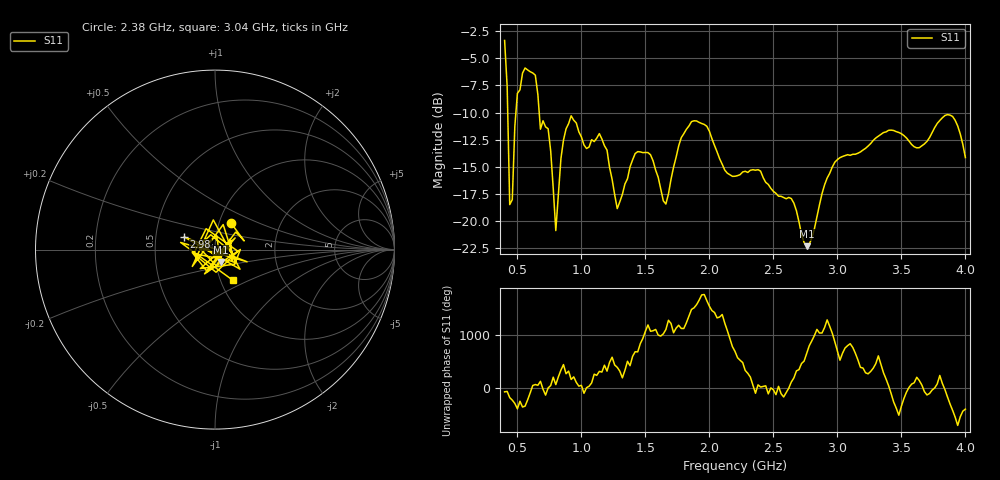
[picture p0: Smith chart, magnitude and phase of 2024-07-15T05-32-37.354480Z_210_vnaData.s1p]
!Created with skrf (http://scikit-rf.org).
# Hz S RI R 50.0
!freq ReS11 ImS11
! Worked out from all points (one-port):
!   181 points, 400 MHz to 4 GHz, reference 50 ohm
!   lowest |S11| = -22.4 dB at 2.76 GHz (marker M1), VSWR 1.17, Z = 52.7 - j7.38 ohm
!   |S11| at or under -10 dB: 424.4 MHz to 488.3 MHz (63.89 MHz wide, 14 % of centre); 670.3 MHz to end of sweep
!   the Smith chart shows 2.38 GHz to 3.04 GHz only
!   S11 on the Smith chart (normalised r, x): 2.38 GHz: 1.14, +0.35; 2.98 GHz: 0.70, +0.10; 3.04 GHz: 1.14, -0.41
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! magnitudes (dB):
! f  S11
! 400 MHz  -3.3
! 420 MHz  -7.6
! 440 MHz  -18.5
! 460 MHz  -18.1
! 500 MHz  -8.2
! 560 MHz  -5.9
! 680 MHz  -11.5
! 740 MHz  -11.5
! 800 MHz  -20.9
! 860 MHz  -12.5
! 920 MHz  -10.3
! 1.04 GHz  -13.3
! 1.14 GHz  -12.0
! 1.3 GHz  -18.3
! 1.44 GHz  -13.6
! 1.66 GHz  -18.5
! 1.76 GHz  -13.1
! 1.96 GHz  -11.1
! 2.2 GHz  -15.9
! 2.38 GHz  -15.3
! 2.66 GHz  -18.4
! 2.76 GHz  -22.4
! 2.98 GHz  -14.6
! 3.04 GHz  -14.1
! 3.1 GHz  -14.0
! 3.56 GHz  -12.6
! 3.88 GHz  -10.2
! 4 GHz  -14.2
